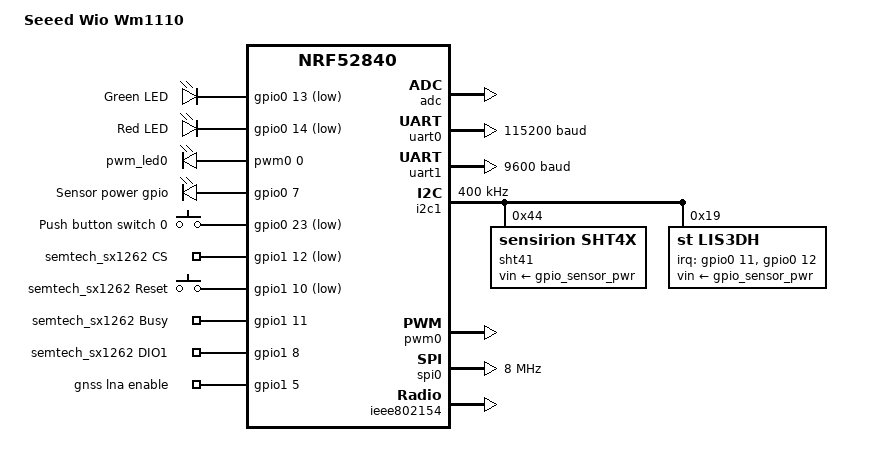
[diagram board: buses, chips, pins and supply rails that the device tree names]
/*
 * Copyright (c) 2017 Linaro Limited
 *
 * SPDX-License-Identifier: Apache-2.0
 */

/dts-v1/;
#include <nordic/nrf52840_qiaa.dtsi>
#include <zephyr/dt-bindings/gpio/gpio.h>
#include <zephyr/dt-bindings/led/led.h>
#include "wio_wm1110-pinctrl.dtsi"
#include <zephyr/dt-bindings/i2c/i2c.h>

/ {
	model = "Seeed Wio Wm1110";
	compatible = "seeed,wio-wm1110";

	chosen {
		zephyr,console = &uart0;
		zephyr,shell-uart = &uart0;
		zephyr,uart-mcumgr = &uart0;
		zephyr,bt-mon-uart = &uart0;
		zephyr,bt-c2h-uart = &uart0;
		zephyr,sram = &sram0;
		zephyr,flash = &flash0;
		zephyr,code-partition = &slot0_partition;
		zephyr,ieee802154 = &ieee802154;
	};

	leds {
		compatible = "gpio-leds";
		led0: led_0 {
			gpios = <&gpio0 13 GPIO_ACTIVE_LOW>;
			label = "Green LED";
		};
		led1: led_1 {
			gpios = <&gpio0 14 GPIO_ACTIVE_LOW>;
			label = "Red LED";
		};
		/* The led `GROVE` is not controlled by MCU, 
		it's on when the power for Grove connectors are gated on via P1.01. */
	};
	
	pwmleds {
		 compatible = "pwm-leds";
		 pwm_led0: pwm_led_0 {
			 pwms = <&pwm0 0 PWM_MSEC(20) PWM_POLARITY_INVERTED>;
		 };
	 };
	
	power {
		 compatible = "gpio-leds";
		 gpio_sensor_pwr: gpio_sensor_pwr_0 {
			 gpios = <&gpio0 7 GPIO_ACTIVE_HIGH>;
			 label = "Sensor power gpio";
		 };
	};

	buttons {
		compatible = "gpio-keys";
		button0: button_0 {
			gpios = <&gpio0 23 (GPIO_PULL_UP | GPIO_ACTIVE_LOW)>;
			label = "Push button switch 0";
		};
	};

	semtech_gpios {
		compatible = "gpio-keys";
		semtech_sx1262_cs: cs {
			gpios = <&gpio1 12 GPIO_ACTIVE_LOW>;
			label = "semtech_sx1262 CS";
		};
		semtech_sx1262_reset_gpios: reset {
			gpios = <&gpio1 10 GPIO_ACTIVE_LOW>;
			label = "semtech_sx1262 Reset";
		};
		semtech_sx1262_busy_gpios: busy {
			gpios = <&gpio1 11 GPIO_ACTIVE_HIGH>;
			label = "semtech_sx1262 Busy";
		};
		/*semtech_sx1262_antenna_enable_gpios: antena_enable {
			gpios = <&gpio1 0xa GPIO_ACTIVE_HIGH>;
			label = "semtech_sx1262 Antena Enable";
		};*/
		semtech_sx1262_dio1_gpios: dio1 {
			gpios = <&gpio1 8 GPIO_ACTIVE_HIGH>;
			label = "semtech_sx1262 DIO1";
		};
		radio_gnss_lna: gnss_lna {
			gpios = <&gpio1 5 GPIO_ACTIVE_HIGH>;
			label = "gnss lna enable";
		};
	};

	/* These aliases are provided for compatibility with samples */
	aliases {
		led0 = &led0;
		pwm-led0 = &pwm_led0;
		sw0 = &button0;
		button0 = &button0;
		watchdog0 = &wdt0;
		accel0 = &lis3dh;
		bootloader-led0 = &led0;
		mcuboot-button0 = &button0;
		mcuboot-led0 = &led0;
		sensor-pwr = &gpio_sensor_pwr;
	};
};

&adc {
	status = "okay";
};

&gpiote {
	status = "okay";
};

&gpio0 {
	status = "okay";
};

&gpio1 {
	status = "okay";
};

debug_uart: &uart0 {
	compatible = "nordic,nrf-uarte";
	status = "okay";
	current-speed = <115200>;
	pinctrl-0 = <&uart0_default>;
	pinctrl-1 = <&uart0_sleep>;
	pinctrl-names = "default", "sleep";
};

grove_uart: &uart1 {
	compatible = "nordic,nrf-uarte";
	status = "okay";
	current-speed = <9600>;
	pinctrl-0 = <&uart1_default>;
	pinctrl-1 = <&uart1_sleep>;
	pinctrl-names = "default", "sleep";
};

grove_i2c: &i2c1 {
	compatible = "nordic,nrf-twim";
	status = "okay";
	pinctrl-0 = <&i2c1_default>;
	pinctrl-1 = <&i2c1_sleep>;
	pinctrl-names = "default", "sleep";
	clock-frequency = <I2C_BITRATE_FAST>;

	sht41: sht4x@44 {
		compatible = "sensirion,sht4x";
		reg = <0x44>;
		repeatability = <2>;	/* 2 = high -> 8.2 ms */
		vin-supply = < &gpio_sensor_pwr >;
	};

	lis3dh: lis3dh@19 {
		compatible = "st,lis3dh", "st,lis2dh";
		reg = <0x19>;
		irq-gpios = <&gpio0 11 GPIO_ACTIVE_HIGH>,	
				<&gpio0 12 GPIO_ACTIVE_HIGH>;		
		// anym-on-int1;
		// disconnect-sdo-sa0-pull-up;
		vin-supply = < &gpio_sensor_pwr >;
	};
};

&pwm0 {
	/* assigned to one of the trace pins temporarily */
	status = "okay";
	pinctrl-0 = <&pwm0_default>;
	pinctrl-1 = <&pwm0_sleep>;
	pinctrl-names = "default", "sleep";
};

sid_semtech: &spi0 {
	/* inside the WM1110 module */
	compatible = "nordic,nrf-spi";
	status = "okay";
	pinctrl-0 = <&spi0_default>;
	pinctrl-1 = <&spi0_sleep>;
	pinctrl-names = "default", "sleep";
	clock-frequency = <DT_FREQ_M(8)>;
};

&ieee802154 {
	status = "okay";
};

 &flash0 {
 
	 partitions {
		 compatible = "fixed-partitions";
		 #address-cells = <1>;
		 #size-cells = <1>;
 
		 boot_partition: partition@0 {
			 label = "mcuboot";
			 reg = <0x00000000 0x0001b000>;
		 };
		 slot0_partition: partition@1b000 {
			 label = "image-0";
			 reg = <0x0001b000 0x00068000>;
		 };
		 slot1_partition: partition@83000 {
			 label = "image-1";
			 reg = <0x00083000 0x00068000>;
		 };
 
		 /*
		  * The flash starting at 0x000f8000 and ending at
		  * 0x000fffff is reserved for use by the application.
		  */
 
		 /*
		  * Storage partition will be used by FCB/LittleFS/NVS
		  * if enabled.
		  */
		reserved0_partition: partition@eb000 {
			label = "reserved0_partition";
			reg = <0x000eb000 0x0001000>;
		};
		settings_storage: partition@ec000 {
			 label = "settings_storage";
			 reg = <0x000ec000 0x00004000>;
		};
		littlefs_storage: partition@f0000 {
			label = "littlefs_storage";
			reg = <0x000f0000 0x00009000>;
	    };		
	    sidewalk_storage: partition@f9000 {
			label = "sidewalk_storage";
			reg = <0x000f9000 0x00006000>;
		};
		mfg_storage: partition@ff000 {
			label = "mfg_storage";
			reg = <0x000ff000 0x00001000>;
		};

	 };
 };
 

zephyr_udc0: &usbd {
	compatible = "nordic,nrf-usbd";
	status = "disabled";
};
